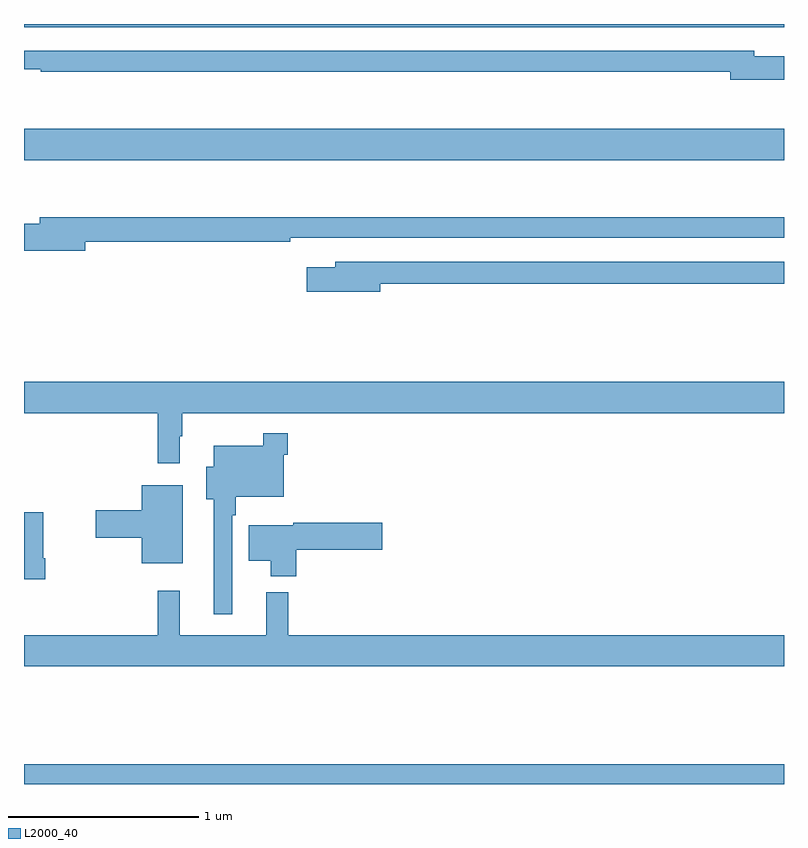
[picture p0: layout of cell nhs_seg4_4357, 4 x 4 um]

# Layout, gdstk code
import gdstk
lib = gdstk.Library(unit=1e-6, precision=1e-09)
def R(c, l, rs):  # rectangles x0, y0, x1, y1
    for r in rs: c.add(gdstk.rectangle(r[:2], r[2:], *l))
def P(c, l, *ps):  # polygons
    for p in ps: c.add(gdstk.Polygon(p, *l))
L2000_40 = (2000, 40)

nhs_seg4_4357 = lib.new_cell('nhs_seg4_4357')
R(nhs_seg4_4357, L2000_40, [(345,762.9,349,763.004), (345,766.184,349,766.348)])
P(nhs_seg4_4357, L2000_40, [(349,766.9),(345,766.9),(345,766.884),(348.94,766.884),(348.94,766.883),(349,766.883)],
  [(349,766.729),(348.844,766.729),(348.844,766.758),(345,766.758),(345,766.662),(345.088,766.662),(345.088,766.65),(348.716,766.65),(348.716,766.607),(349,766.607)],
  [(345.322,765.754),(346.4,765.754),(346.4,765.774),(349,765.774),(349,765.883),(345.083,765.883),(345.083,765.849),(345,765.849),(345,765.707),(345.322,765.707)],
  [(346.876,765.532),(349,765.532),(349,765.648),(346.637,765.648),(346.637,765.619),(346.488,765.619),(346.488,765.49),(346.876,765.49)],
  [(345.82,764.729),(345.832,764.729),(345.832,764.852),(349,764.852),(349,765.016),(345,765.016),(345,764.852),(345.703,764.852),(345.703,764.589),(345.82,764.589)],
  [(346.095,764.315),(346.115,764.315),(346.115,764.411),(346.368,764.411),(346.368,764.633),(346.388,764.633),(346.388,764.746),(346.26,764.746),(346.26,764.68),(345.998,764.68),(345.998,764.569),(345.959,764.569),(345.959,764.399),(345.998,764.399),(345.998,763.794),(346.095,763.794)],
  [(345.835,764.473),(345.62,764.473),(345.62,764.342),(345.378,764.342),(345.378,764.195),(345.62,764.195),(345.62,764.063),(345.835,764.063)],
  [(345.113,764.089),(345.1,764.089),(345.1,764.329),(345,764.329),(345,763.977),(345.113,763.977)],
  [(346.433,764.134),(346.885,764.134),(346.885,764.276),(346.416,764.276),(346.416,764.263),(346.184,764.263),(346.184,764.075),(346.298,764.075),(346.298,763.994),(346.433,763.994)],
  [(349,763.684),(346.391,763.684),(346.391,763.909),(346.274,763.909),(346.274,763.684),(345.821,763.684),(345.821,763.918),(345.703,763.918),(345.703,763.684),(345,763.684),(345,763.52),(349,763.52)])

lib.write_gds('nhs_seg4_4357.gds')
